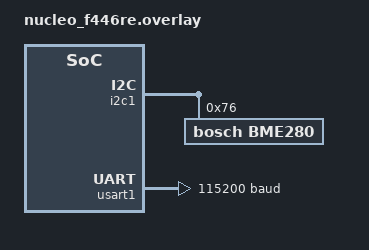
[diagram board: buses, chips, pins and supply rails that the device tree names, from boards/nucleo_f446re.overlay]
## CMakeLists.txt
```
cmake_minimum_required(VERSION 3.20.0)
set(ZEPHYR_BASE $ENV{ZEPHYR_BASE})
find_package(Zephyr REQUIRED HINTS ${ZEPHYR_BASE})
project(weather_prediction)

target_sources(app PRIVATE
  src/main.c
  src/bme280.c
  src/rain_model.c
  src/esp32_comm.c
)

target_include_directories(app PRIVATE src)
```

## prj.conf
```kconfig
# Enable I2C for the BME280 sensor
CONFIG_I2C=y
CONFIG_I2C_STM32=y # additional
CONFIG_I2C_STM32_INTERRUPT=y # additional
CONFIG_SENSOR=y
CONFIG_BME280=y

CONFIG_BME280_MODE_NORMAL=y
CONFIG_I2C_LOG_LEVEL_DBG=y
CONFIG_SENSOR_LOG_LEVEL_DBG=y

# Enable UART for communication with ESP32
CONFIG_SERIAL=y
CONFIG_UART_INTERRUPT_DRIVEN=y

# Enable multithreading and RTOS features
CONFIG_MULTITHREADING=y
CONFIG_NUM_PREEMPT_PRIORITIES=16
CONFIG_SYS_CLOCK_TICKS_PER_SEC=100

# Enable logging
CONFIG_LOG=y
CONFIG_LOG_DEFAULT_LEVEL=3

# Enable console
CONFIG_CONSOLE=y
CONFIG_STDOUT_CONSOLE=y

# Enable GPIO
CONFIG_GPIO=y

# Enable Logging and floating point printing
CONFIG_NEWLIB_LIBC=y
CONFIG_NEWLIB_LIBC_FLOAT_PRINTF=y
CONFIG_CBPRINTF_FP_SUPPORT=y
CONFIG_LOG=y
CONFIG_LOG_PRINTK=y
CONFIG_LOG_MODE_IMMEDIATE=y
```

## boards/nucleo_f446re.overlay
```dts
/ {
    aliases {
        i2c1 = &i2c1;
        uart1 = &usart1;
    };
};

&i2c1 {
    status = "okay";
    bme280@76 {
        compatible = "bosch,bme280";
        reg = <0x76>;
    };
};

&usart1 {
    status = "okay";
    current-speed = <115200>;
};
```

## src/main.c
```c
#include <zephyr/kernel.h>
#include <zephyr/device.h>
#include <zephyr/drivers/i2c.h>
#include <zephyr/drivers/uart.h>
#include <zephyr/logging/log.h>
#include <zephyr/sys/printk.h>
#include <stdio.h>
#include "bme280.h"
#include "rain_model.h"
#include "esp32_comm.h"

LOG_MODULE_REGISTER(main, CONFIG_LOG_DEFAULT_LEVEL);

#define STACK_SIZE 2048
#define THREAD_PRIORITY 5
#define SAMPLING_INTERVAL_MS 10000 // 10 SECONDS
#define PREDICTION_INTERVAL_MS 61000 // 1 MINUTE AND 1 SECONDS
#define MAX_SAMPLES 7  // 5 minutes if SAMPLING_INTERVAL_MS = 10s

// I2C sensor - uses DT_ALIAS as in the original code
static const struct device *i2c_dev = DEVICE_DT_GET(DT_ALIAS(i2c1));

// UART ESP32 - keep uart1 as in the original if you're using the same device
static const struct device *uart_dev = DEVICE_DT_GET(DT_ALIAS(uart1));

// Semaphore for synchronization
K_SEM_DEFINE(init_sem, 0, 2);

// Structure buffer
typedef struct {
    float temperature[MAX_SAMPLES];
    float pressure[MAX_SAMPLES];
    float humidity[MAX_SAMPLES];
    int count;
} sensor_buffer_t;

static sensor_buffer_t sensor_buffer;
K_MUTEX_DEFINE(buffer_mutex);

// Thread stack & data
K_THREAD_STACK_DEFINE(thread_stack, STACK_SIZE);
K_THREAD_STACK_DEFINE(prediction_thread_stack, STACK_SIZE);
static struct k_thread thread_data;
static struct k_thread prediction_thread_data;

/**
 * @brief Data acquisition thread
 *
 * This thread reads data from the BME280 sensor at a regular interval defined by 
 * SAMPLING_INTERVAL_MS (10 seconds) and stores the values (temperature, pressure, humidity) 
 * in a buffer. The buffer holds a maximum of MAX_SAMPLES (30 samples). 
 * It ensures thread synchronization using a mutex to avoid race conditions.
 */
void data_acquisition_thread(void *arg1, void *arg2, void *arg3)
{
    ARG_UNUSED(arg1);
    ARG_UNUSED(arg2);
    ARG_UNUSED(arg3);
    
    bme280_data_t sensor_data;

    k_sem_take(&init_sem, K_FOREVER);

    while (1) {
        if (bme280_read_data(i2c_dev, &sensor_data)) {

            k_mutex_lock(&buffer_mutex, K_FOREVER);
            if (sensor_buffer.count < MAX_SAMPLES) {
                int i = sensor_buffer.count;
                sensor_buffer.temperature[i] = sensor_data.temperature;
                sensor_buffer.pressure[i] = sensor_data.pressure;
                sensor_buffer.humidity[i] = sensor_data.humidity;
                sensor_buffer.count++;
            }
            k_mutex_unlock(&buffer_mutex);
        } else {
            //LOG_ERR("Sensor read error");
        }

        k_sleep(K_MSEC(SAMPLING_INTERVAL_MS));
    }
}

/**
 * @brief Prediction thread
 *
 * This thread is responsible for calculating the average values of the sensor data 
 * stored in the buffer and performing the rain prediction using a machine learning model. 
 * After calculating the average values for temperature, pressure, and humidity, it uses 
 * the `predict_rain` function to predict the probability of rain. 
 * The result is then sent to the ESP32 via UART. 
 * The prediction occurs at an interval defined by PREDICTION_INTERVAL_MS (1 minute and 5 seconds).
 */
void prediction_thread(void *arg1, void *arg2, void *arg3)
{
    ARG_UNUSED(arg1);
    ARG_UNUSED(arg2);
    ARG_UNUSED(arg3);
    
    bme280_data_t avg_data;
    float rain_prob;

    k_sem_take(&init_sem, K_FOREVER);

    while (1) {
        k_mutex_lock(&buffer_mutex, K_FOREVER);
        if (sensor_buffer.count > 0) {
            float sum_t = 0, sum_p = 0, sum_h = 0;
            for (int i = 0; i < sensor_buffer.count; i++) {
                sum_t += sensor_buffer.temperature[i];
                sum_p += sensor_buffer.pressure[i];
                sum_h += sensor_buffer.humidity[i];
            }
            avg_data.temperature = sum_t / sensor_buffer.count;
            avg_data.pressure = sum_p / sensor_buffer.count;
            avg_data.humidity = sum_h / sensor_buffer.count;
            sensor_buffer.count = 0;  // reset
        } else {
            k_mutex_unlock(&buffer_mutex);
            k_sleep(K_MSEC(PREDICTION_INTERVAL_MS));
            continue;
        }

        rain_prob = (float)predict_rain(&avg_data);

        if (!esp32_send_data(uart_dev, &avg_data, rain_prob)) {
        }
        k_mutex_unlock(&buffer_mutex);

        k_sleep(K_MSEC(PREDICTION_INTERVAL_MS));
    }
}

/**
 * @brief Main function
 *
 * Initializes the I2C, UART, and sensor devices. It also initializes the ML model 
 * for rain prediction and starts the data acquisition and prediction threads.
 * It ensures that all devices and threads are properly initialized and ready.
 */
void main(void)
{
    if (!device_is_ready(i2c_dev)) {
        LOG_ERR("I2C not ready");
        return;
    }

    if (!device_is_ready(uart_dev)) {
        LOG_ERR("UART not ready");
        return;
    }

    if (!bme280_init(i2c_dev)) {
        LOG_ERR("BME280 initialization error");
        return;
    }
    
    // Initialize ML model
    ml_model_init();
    
    // Initialize communication with ESP32
    if (!esp32_comm_init(uart_dev)) {
        LOG_ERR("Unable to initialize communication with ESP32");
        return;
    }

    k_sem_give(&init_sem);
    k_sem_give(&init_sem);

    // Create data acquisition thread
    k_thread_create(&thread_data, thread_stack, STACK_SIZE,
                    data_acquisition_thread, NULL, NULL, NULL,
                    THREAD_PRIORITY, 0, K_NO_WAIT);
    k_thread_name_set(&thread_data, "data_acquisition_thread");

    // Create prediction thread
    k_thread_create(&prediction_thread_data, prediction_thread_stack, STACK_SIZE,
                    prediction_thread, NULL, NULL, NULL,
                    THREAD_PRIORITY, 0, K_NO_WAIT);
    k_thread_name_set(&prediction_thread_data, "prediction_thread");
}
```

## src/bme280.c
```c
/**
 * @file bme280.c
 * @brief Implementation of the driver for the BME280 sensor
 */

 #include "bme280.h"
 #include <zephyr/logging/log.h>
 
 LOG_MODULE_REGISTER(bme280, CONFIG_LOG_DEFAULT_LEVEL);
 
 /* BME280 Registers */
 #define BME280_REG_ID           0xD0
 #define BME280_REG_RESET        0xE0
 #define BME280_REG_CTRL_HUM     0xF2
 #define BME280_REG_STATUS       0xF3
 #define BME280_REG_CTRL_MEAS    0xF4
 #define BME280_REG_CONFIG       0xF5
 #define BME280_REG_PRESS_MSB    0xF7
 #define BME280_REG_PRESS_LSB    0xF8
 #define BME280_REG_PRESS_XLSB   0xF9
 #define BME280_REG_TEMP_MSB     0xFA
 #define BME280_REG_TEMP_LSB     0xFB
 #define BME280_REG_TEMP_XLSB    0xFC
 #define BME280_REG_HUM_MSB      0xFD
 #define BME280_REG_HUM_LSB      0xFE
 
 /* chip ID values */
 #define BME280_CHIP_ID          0x60
 
 /* Calibration Parameters */
 struct bme280_calib_param {
     /* Temperature */
     uint16_t dig_t1;
     int16_t  dig_t2;
     int16_t  dig_t3;
     
     /* Pressure */
     uint16_t dig_p1;
     int16_t  dig_p2;
     int16_t  dig_p3;
     int16_t  dig_p4;
     int16_t  dig_p5;
     int16_t  dig_p6;
     int16_t  dig_p7;
     int16_t  dig_p8;
     int16_t  dig_p9;
     
     /* Humidity */
     uint8_t  dig_h1;
     int16_t  dig_h2;
     uint8_t  dig_h3;
     int16_t  dig_h4;
     int16_t  dig_h5;
     int8_t   dig_h6;
     
     int32_t t_fine;
 };
 
 static struct bme280_calib_param calib_data;
 static uint8_t bme280_i2c_addr = 0x76;  

 /**
  * @brief Reads a byte from the specified register
  */
 static int bme280_read_reg(const struct device *i2c_dev, uint8_t reg, uint8_t *data)
 {
     return i2c_reg_read_byte(i2c_dev, bme280_i2c_addr, reg, data);
 }
 
 /**
  * @brief Writes a byte to the specified register
  */
 static int bme280_write_reg(const struct device *i2c_dev, uint8_t reg, uint8_t value)
 {
     return i2c_reg_write_byte(i2c_dev, bme280_i2c_addr, reg, value);
 }
 
 /**
  * @brief Reads the calibration parameters
  */
 static bool read_calibration_data(const struct device *i2c_dev)
 {
     uint8_t buf[24];
     
     /* Reads the first calibration parameters (0x88-0x9F) */
     if (i2c_burst_read(i2c_dev, bme280_i2c_addr, 0x88, buf, 24) != 0) {
         return false;
     }
     
     calib_data.dig_t1 = (uint16_t)(buf[1] << 8) | buf[0];
     calib_data.dig_t2 = (int16_t)((buf[3] << 8) | buf[2]);
     calib_data.dig_t3 = (int16_t)((buf[5] << 8) | buf[4]);
     
     calib_data.dig_p1 = (uint16_t)(buf[7] << 8) | buf[6];
     calib_data.dig_p2 = (int16_t)((buf[9] << 8) | buf[8]);
     calib_data.dig_p3 = (int16_t)((buf[11] << 8) | buf[10]);
     calib_data.dig_p4 = (int16_t)((buf[13] << 8) | buf[12]);
     calib_data.dig_p5 = (int16_t)((buf[15] << 8) | buf[14]);
     calib_data.dig_p6 = (int16_t)((buf[17] << 8) | buf[16]);
     calib_data.dig_p7 = (int16_t)((buf[19] << 8) | buf[18]);
     calib_data.dig_p8 = (int16_t)((buf[21] << 8) | buf[20]);
     calib_data.dig_p9 = (int16_t)((buf[23] << 8) | buf[22]);
     
     /* Reads parameter dig_h1 */
     if (bme280_read_reg(i2c_dev, 0xA1, &calib_data.dig_h1) != 0) {
         return false;
     }
     
     /* Reads humidity calibration parameters */
     if (i2c_burst_read(i2c_dev, bme280_i2c_addr, 0xE1, buf, 7) != 0) {
         return false;
     }
     
     calib_data.dig_h2 = (int16_t)((buf[1] << 8) | buf[0]);
     calib_data.dig_h3 = buf[2];
     calib_data.dig_h4 = (int16_t)((buf[3] << 4) | (buf[4] & 0x0F));
     calib_data.dig_h5 = (int16_t)((buf[5] << 4) | (buf[4] >> 4));
     calib_data.dig_h6 = (int8_t)buf[6];
     
     return true;
 }
 
 /**
  * @brief Calculates the compensated temperature
  */
 static float compensate_temperature(int32_t adc_temp)
 {
     int32_t var1, var2;
     
     var1 = ((((adc_temp >> 3) - ((int32_t)calib_data.dig_t1 << 1))) * 
             ((int32_t)calib_data.dig_t2)) >> 11;
     var2 = (((((adc_temp >> 4) - ((int32_t)calib_data.dig_t1)) * 
             ((adc_temp >> 4) - ((int32_t)calib_data.dig_t1))) >> 12) * 
             ((int32_t)calib_data.dig_t3)) >> 14;
             
     calib_data.t_fine = var1 + var2;
     
     return ((calib_data.t_fine * 5 + 128) >> 8) / 100.0f;
 }
 
 /**
  * @brief Calculates the compensated pressure
  */
 static float compensate_pressure(int32_t adc_press)
 {
     int64_t var1, var2, p;
     
     var1 = ((int64_t)calib_data.t_fine) - 128000;
     var2 = var1 * var1 * (int64_t)calib_data.dig_p6;
     var2 = var2 + ((var1 * (int64_t)calib_data.dig_p5) << 17);
     var2 = var2 + (((int64_t)calib_data.dig_p4) << 35);
     var1 = ((var1 * var1 * (int64_t)calib_data.dig_p3) >> 8) + 
            ((var1 * (int64_t)calib_data.dig_p2) << 12);
     var1 = (((((int64_t)1) << 47) + var1)) * ((int64_t)calib_data.dig_p1) >> 33;
     
     if (var1 == 0) {
         return 0; 
     }
     
     p = 1048576 - adc_press;
     p = (((p << 31) - var2) * 3125) / var1;
     var1 = (((int64_t)calib_data.dig_p9) * (p >> 13) * (p >> 13)) >> 25;
     var2 = (((int64_t)calib_data.dig_p8) * p) >> 19;
     
     p = ((p + var1 + var2) >> 8) + (((int64_t)calib_data.dig_p7) << 4);
     
     return (float)p / 256.0f / 100.0f; // Pressure in hPa
 }
 
 /**
  * @brief Calculates the compensated humidity
  */
 static float compensate_humidity(int32_t adc_hum)
 {
     int32_t v_x1_u32r;
     
     v_x1_u32r = calib_data.t_fine - ((int32_t)76800);
     v_x1_u32r = (((((adc_hum << 14) - (((int32_t)calib_data.dig_h4) << 20) - 
                 (((int32_t)calib_data.dig_h5) * v_x1_u32r)) + ((int32_t)16384)) >> 15) * 
                 (((((((v_x1_u32r * ((int32_t)calib_data.dig_h6)) >> 10) * 
                 (((v_x1_u32r * ((int32_t)calib_data.dig_h3)) >> 11) + ((int32_t)32768))) >> 10) + 
                 ((int32_t)2097152)) * ((int32_t)calib_data.dig_h2) + 8192) >> 14));
                 
     v_x1_u32r = (v_x1_u32r - (((((v_x1_u32r >> 15) * (v_x1_u32r >> 15)) >> 7) * 
                 ((int32_t)calib_data.dig_h1)) >> 4));
                 
     v_x1_u32r = (v_x1_u32r < 0) ? 0 : v_x1_u32r;
     v_x1_u32r = (v_x1_u32r > 419430400) ? 419430400 : v_x1_u32r;
     
     return (float)(v_x1_u32r >> 12) / 1024.0f;
 }
 

 bool bme280_init(const struct device *i2c_dev)
{
    if (!device_is_ready(i2c_dev)) {
        return false;
    }

    k_msleep(200);  


    // Scan on both possible addresses (0x76, 0x77)
    for (uint8_t addr = 0x76; addr <= 0x77; addr++) {
        uint8_t dummy = 0;
        struct i2c_msg ping_msg = {
            .buf = &dummy,
            .len = 0,
            .flags = I2C_MSG_WRITE,
        };

        int ret = i2c_transfer(i2c_dev, &ping_msg, 1, addr);

        if (ret == 0) {
            bme280_i2c_addr = addr;
            break;
        }
    }

    if (bme280_i2c_addr == 0) {
        return false;
    }

    k_msleep(10);

    // Sensor configuration
    bme280_write_reg(i2c_dev, BME280_REG_CTRL_HUM, 0x01);     
    bme280_write_reg(i2c_dev, BME280_REG_CTRL_MEAS, 0x27);    
    bme280_write_reg(i2c_dev, BME280_REG_CONFIG, 0xA0);      

    for (int attempt = 0; attempt < 5; attempt++) {
        // 1. Writing the register address for ID
        uint8_t id_reg = 0xD0;
        struct i2c_msg write_msg = {
            .buf = &id_reg,
            .len = 1,
            .flags = I2C_MSG_WRITE | I2C_MSG_STOP,
        };

        int write_ret = i2c_transfer(i2c_dev, &write_msg, 1, bme280_i2c_addr);

        if (write_ret != 0) {
            k_msleep(10);
            continue;
        }

        k_msleep(10);

        // 2. Reading the ID value
        uint8_t chip_id = 0;
        struct i2c_msg read_msg = {
            .buf = &chip_id,
            .len = 1,
            .flags = I2C_MSG_READ | I2C_MSG_STOP,
        };

        int read_ret = i2c_transfer(i2c_dev, &read_msg, 1, bme280_i2c_addr);

        if (read_ret != 0) {
            k_msleep(10);
            continue;
        }


        if (chip_id == 0x60) {

            // Reading the calibration parameters
            if (!read_calibration_data(i2c_dev)) {
                return false;
            }

            return true;
        } else {
        }

        k_msleep(20);
    }

    return false;
}


 bool bme280_read_data(const struct device *i2c_dev, bme280_data_t *data)
 {
     uint8_t buf[8];
     int32_t adc_temp, adc_press, adc_hum;
     
     /* Reads the raw data */
     if (i2c_burst_read(i2c_dev, bme280_i2c_addr, BME280_REG_PRESS_MSB, buf, 8) != 0) {
         return false;
     }
     
     /* Extracts the ADC values */
     adc_press = ((uint32_t)buf[0] << 12) | ((uint32_t)buf[1] << 4) | (buf[2] >> 4);
     adc_temp = ((uint32_t)buf[3] << 12) | ((uint32_t)buf[4] << 4) | (buf[5] >> 4);
     adc_hum = ((uint32_t)buf[6] << 8) | buf[7];
     
     /* Calculates the compensated values */
     data->temperature = compensate_temperature(adc_temp);
     data->pressure = compensate_pressure(adc_press);
     data->humidity = compensate_humidity(adc_hum);
     

     
     return true;
 }
```

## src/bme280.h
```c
/**
 * @file bme280.h
 * @brief Driver for the BME280 sensor
 */

 #ifndef BME280_H
 #define BME280_H
 
 #include <zephyr/device.h>
 #include <zephyr/drivers/i2c.h>
 #include <stdbool.h>
 
 /** Default I2C address of the BME280 */
 // #define BME280_I2C_ADDR 0x76 // Must match the address in the overlay file
 
 /** Structure for sensor data */
 typedef struct {
     float temperature;   /**< Temperature in °C */
     float pressure;      /**< Pressure in hPa */
     float humidity;      /**< Relative humidity in % */
 } bme280_data_t;
 
 /**
  * @brief Initializes the BME280 sensor
  *
  * @param i2c_dev Pointer to the I2C device
  * @return true if initialization was successful, false otherwise
  */
 bool bme280_init(const struct device *i2c_dev);
 
 /**
  * @brief Reads data from the BME280 sensor
  *
  * @param i2c_dev Pointer to the I2C device
  * @param data Pointer to the structure where data will be saved
  * @return true if reading was successful, false otherwise
  */
 bool bme280_read_data(const struct device *i2c_dev, bme280_data_t *data);
 
 #endif /* BME280_H */
```

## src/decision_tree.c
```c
// /**
//  * @file ml_model_decisiontree.c
//  * @brief Implementazione del modello ML basato su Decision Tree
//  */

//  #include "ml_model.h"
//  #include "rain_model.h"  // include del tuo modello decision tree
//  #include <zephyr/logging/log.h>
 
//  LOG_MODULE_REGISTER(ml_model_dt, CONFIG_LOG_DEFAULT_LEVEL);
 
//  /**
//   * @brief Inizializza il modello Decision Tree (stub)
//   */
//  void ml_model_init(void)
//  {
//      LOG_INF("Modello Decision Tree inizializzato");
//  }
 
//  /**
//   * @brief Usa il modello Decision Tree per prevedere la probabilità di pioggia
//   *
//   * @param data Puntatore alla struttura con i dati sensore
//   * @return Probabilità stimata di pioggia (float da 0.0 a 100.0)
//   */
//  float ml_model_predict_rain(const bme280_data_t *data)
//  {
//      float features[3] = {
//          data->humidity,
//          data->temperature,
//          data->pressure
//      };
 
//      int prediction = predict_rain(features);  // 0 o 1
//      LOG_DBG("Previsione pioggia (output modello DT): %d", prediction);
 
//      // Traduci la classificazione binaria in una probabilità stimata
//      return prediction ? 85.0f : 15.0f;
//  }
 
```

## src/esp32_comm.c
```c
/**
 * @file esp32_comm.c
 * @brief Implementation of communication with the ESP32 module
 */

 #include "esp32_comm.h"
 #include <zephyr/logging/log.h>
 #include <string.h>
 #include <stdio.h>
 
 LOG_MODULE_REGISTER(esp32_comm, CONFIG_LOG_DEFAULT_LEVEL);
 
 /* Buffer size for communication */
 #define UART_BUF_SIZE 128
 
 /* Buffer for sending data */
 static char tx_buf[UART_BUF_SIZE];
 
 bool esp32_comm_init(const struct device *uart_dev)
 {
     if (!device_is_ready(uart_dev)) {
         return false;
     }
     
     /* Configures UART if necessary */
     /* Note: in Zephyr, the basic configuration is usually managed
        by the device configuration in the Device Tree */
     
     return true;
 }
 
 bool esp32_send_data(const struct device *uart_dev, 
                     const bme280_data_t *sensor_data, 
                     float rain_probability)
 {
     int len;
     
     /* Formats the data in JSON format for easy parsing on ESP32 */
     len = snprintf(tx_buf, sizeof(tx_buf),
                "{\"temp\":%.2f,\"press\":%.2f,\"hum\":%.2f,\"rain\":%.2f}\n",
                (double)sensor_data->temperature,
                (double)sensor_data->pressure,
                (double)sensor_data->humidity,
                (double)rain_probability);
     
     if (len < 0 || len >= sizeof(tx_buf)) {
         return false;
     }

     /* Sends data via UART */
     for (int i = 0; i < len; i++) {
         uart_poll_out(uart_dev, tx_buf[i]);
     }
     
     return true;
 }
```

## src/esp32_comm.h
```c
/**
 * @file esp32_comm.h
 * @brief Communication with the ESP32 module
 */

 #ifndef ESP32_COMM_H
 #define ESP32_COMM_H
 
 #include <zephyr/device.h>
 #include <zephyr/drivers/uart.h>
 #include "bme280.h"
 
 /**
  * @brief Initializes UART communication with the ESP32
  *
  * @param uart_dev Pointer to the UART device
  * @return true if initialization was successful, false otherwise
  */
 bool esp32_comm_init(const struct device *uart_dev);
 
 /**
  * @brief Sends data to the ESP32
  *
  * @param uart_dev Pointer to the UART device
  * @param sensor_data BME280 sensor data
  * @param rain_probability Rain probability
  * @return true if sending was successful, false otherwise
  */
 bool esp32_send_data(const struct device *uart_dev, 
                     const bme280_data_t *sensor_data, 
                     float rain_probability);
 
 #endif /* ESP32_COMM_H */
```

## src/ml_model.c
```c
// /**
//  * @file ml_model.c
//  * @brief Implementazione del wrapper per il modello di Machine Learning
//  */

//  #include "ml_model.h"
//  #include <zephyr/logging/log.h>
//  #include <stdlib.h>
//  #include <math.h>
 
//  LOG_MODULE_REGISTER(ml_model, CONFIG_LOG_DEFAULT_LEVEL);
 
//  /* In un'implementazione reale, qui si caricherebbero 
//     i parametri del modello addestrato */
//  void ml_model_init(void)
//  {
//      LOG_INF("Modello ML inizializzato");
//  }
 
//  /* 
//   * Questo è un modello fittizio che simula una previsione di pioggia 
//   * basata su regole semplici.
//   * In un'implementazione reale, qui si utilizzerebbe un modello ML vero e proprio.
//   */
//  float ml_model_predict_rain(const bme280_data_t *data)
//  {
//      float rain_probability = 0.0f;
     
//      /* Modello semplificato:
//       * - Umidità alta aumenta la probabilità di pioggia
//       * - Pressione bassa aumenta la probabilità di pioggia
//       * - Temperatura ha un effetto moderato
//       */
     
//      /* Contributo dell'umidità */
//      if (data->humidity > 85.0f) {
//          rain_probability += 50.0f;
//      } else if (data->humidity > 70.0f) {
//          rain_probability += 30.0f;
//      } else if (data->humidity > 50.0f) {
//          rain_probability += 10.0f;
//      }
     
//      /* Contributo della pressione */
//      if (data->pressure < 990.0f) {
//          rain_probability += 40.0f;
//      } else if (data->pressure < 1000.0f) {
//          rain_probability += 20.0f;
//      } else if (data->pressure < 1010.0f) {
//          rain_probability += 5.0f;
//      }
     
//      /* Contributo della temperatura (effetto minore) */
//      if (data->temperature > 25.0f && data->humidity > 60.0f) {
//          rain_probability += 10.0f; /* Condizioni per temporali estivi */
//      } else if (data->temperature < 5.0f && data->humidity > 80.0f) {
//          rain_probability += 15.0f; /* Condizioni per neve/pioggia invernale */
//      }
     
//      /* Aggiungi un po' di casualità per simulare l'incertezza del modello */
//      rain_probability += ((float)rand() / RAND_MAX) * 10.0f - 5.0f;
     
//      /* Limita la probabilità tra 0% e 100% */
//      if (rain_probability < 0.0f) {
//          rain_probability = 0.0f;
//      } else if (rain_probability > 100.0f) {
//          rain_probability = 100.0f;
//      }
     
//      LOG_DBG("Previsione pioggia: %.1f%%", rain_probability);
     
//      return rain_probability;
//  }
```

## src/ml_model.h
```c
// /**
//  * @file ml_model.h
//  * @brief Wrapper per il modello di Machine Learning
//  */

//  #ifndef ML_MODEL_H
//  #define ML_MODEL_H
 
//  #include "bme280.h"
 
//  /**
//   * @brief Inizializza il modello di ML
//   */
//  void ml_model_init(void);
 
//  /**
//   * @brief Predice la probabilità di pioggia usando i dati del sensore
//   *
//   * @param data Dati del sensore BME280
//   * @return Probabilità di pioggia in percentuale (0-100)
//   */
//  float ml_model_predict_rain(const bme280_data_t *data);
 
//  #endif /* ML_MODEL_H */
```

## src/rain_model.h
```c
#ifndef RAIN_MODEL_H
#define RAIN_MODEL_H

#include "bme280.h"

/**
 * @brief Initializes the ML model
 */
void ml_model_init(void);

/**
 * @brief Predicts the probability of rain using the sensor data
 *
 * @param data BME280 sensor data
 * @return Rain probability in percentage (0-100)
 */
int predict_rain(const bme280_data_t *data);

#endif /* RAIN_MODEL_H */
```
